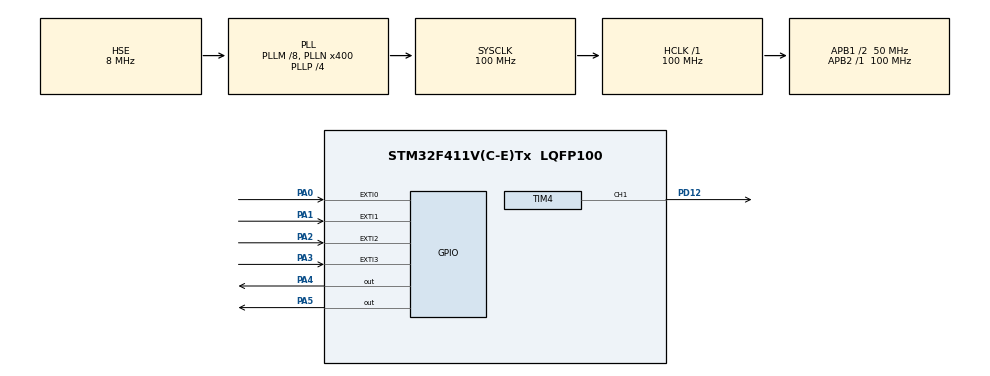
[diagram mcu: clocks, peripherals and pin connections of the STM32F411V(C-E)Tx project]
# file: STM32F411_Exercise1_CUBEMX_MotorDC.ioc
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Mcu.Family=STM32F4
Mcu.Name=STM32F411V(C-E)Tx
Mcu.Package=LQFP100
NVIC.EXTI0_IRQn=true\:0\:0\:false\:false\:true\:true\:true\:true
NVIC.EXTI1_IRQn=true\:1\:0\:true\:false\:true\:true\:true\:true
NVIC.EXTI2_IRQn=true\:2\:0\:true\:false\:true\:true\:true\:true
NVIC.EXTI3_IRQn=true\:2\:0\:true\:false\:true\:true\:true\:true
NVIC.PriorityGroup=NVIC_PRIORITYGROUP_4
PA0-WKUP.Signal=GPXTI0
PA1.Signal=GPXTI1
PA13.Mode=Serial_Wire
PA13.Signal=SYS_JTMS-SWDIO
PA14.Mode=Serial_Wire
PA14.Signal=SYS_JTCK-SWCLK
PA2.Signal=GPXTI2
PA3.Signal=GPXTI3
PA4.GPIO_Speed=GPIO_SPEED_FREQ_VERY_HIGH
PA4.Signal=GPIO_Output
PA5.GPIO_Speed=GPIO_SPEED_FREQ_VERY_HIGH
PA5.Signal=GPIO_Output
PD12.Signal=S_TIM4_CH1
PH0\ -\ OSC_IN.Mode=HSE-External-Oscillator
PH0\ -\ OSC_IN.Signal=RCC_OSC_IN
PH1\ -\ OSC_OUT.Mode=HSE-External-Oscillator
PH1\ -\ OSC_OUT.Signal=RCC_OSC_OUT
ProjectManager.HeapSize=0x200
ProjectManager.StackSize=0x400
ProjectManager.TargetToolchain=MDK-ARM V5.32
RCC.48MHZClocksFreq_Value=100000000
RCC.AHBFreq_Value=100000000
RCC.APB1CLKDivider=RCC_HCLK_DIV2
RCC.APB1Freq_Value=50000000
RCC.APB1TimFreq_Value=100000000
RCC.APB2Freq_Value=100000000
RCC.APB2TimFreq_Value=100000000
RCC.CortexFreq_Value=100000000
RCC.HCLKFreq_Value=100000000
RCC.HSE_VALUE=8000000
RCC.HSI_VALUE=16000000
RCC.LSE_VALUE=32768
RCC.PLLM=8
RCC.PLLN=400
RCC.PLLP=RCC_PLLP_DIV4
RCC.PLLSourceVirtual=RCC_PLLSOURCE_HSE
RCC.SYSCLKFreq_VALUE=100000000
RCC.SYSCLKSource=RCC_SYSCLKSOURCE_PLLCLK
RCC.VCOOutputFreq_Value=400000000
SH.S_TIM4_CH1.0=TIM4_CH1,PWM Generation1 CH1
TIM4.Channel-PWM\ Generation1\ CH1=TIM_CHANNEL_1
TIM4.Period=99
TIM4.Prescaler=999
VP_TIM4_VS_ClockSourceINT.Mode=Internal
board=custom

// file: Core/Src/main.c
/* USER CODE BEGIN Header */
/**
  ******************************************************************************
  * @file           : main.c
  * @brief          : Main program body
  ******************************************************************************
  * @attention
  *
  * Copyright (c) 2023 STMicroelectronics.
  * All rights reserved.
  *
  * This software is licensed under terms that can be found in the LICENSE file
  * in the root directory of this software component.
  * If no LICENSE file comes with this software, it is provided AS-IS.
  *
  ******************************************************************************
  */
/* USER CODE END Header */
#include "main.h"
#include "stdbool.h"

TIM_HandleTypeDef htim4;

/* USER CODE BEGIN PV */
bool f_bt_motor;
bool f_bt_direction;
bool f_bt_increase;
bool f_bt_decrease;
bool state = false;
uint16_t var;
/* USER CODE END PV */

void SystemClock_Config(void);
static void MX_GPIO_Init(void);
static void MX_TIM4_Init(void);

/* USER CODE BEGIN 0 */
void HAL_GPIO_EXTI_Callback(uint16_t GPIO_Pin)
{
	if (GPIO_Pin == GPIO_PIN_0)
	{
		f_bt_motor = true;
	}
	else if (GPIO_Pin == GPIO_PIN_1)
	{
		f_bt_direction = true;
	}
	else if (GPIO_Pin == GPIO_PIN_2)
	{
		f_bt_increase = true;
	}
	else if (GPIO_Pin == GPIO_PIN_3)
	{
		f_bt_decrease = true;
	}
}
/* USER CODE END 0 */

int main(void)
{

  /* MCU Configuration--------------------------------------------------------*/

  /* Reset of all peripherals, Initializes the Flash interface and the Systick. */
  HAL_Init();

  /* Configure the system clock */
  SystemClock_Config();

  /* Initialize all configured peripherals */
  MX_GPIO_Init();
  MX_TIM4_Init();
  /* USER CODE BEGIN 2 */
	HAL_TIM_PWM_Start(&htim4, TIM_CHANNEL_1);
  /* USER CODE END 2 */

  /* Infinite loop */
  while (1)
  {

    /* USER CODE BEGIN 3 */
		/* Bat tat Motor */
		if (f_bt_motor == true)
		{
			HAL_GPIO_WritePin(GPIOA, GPIO_PIN_4, GPIO_PIN_SET);
			HAL_GPIO_WritePin(GPIOA, GPIO_PIN_5, GPIO_PIN_RESET);
			state = !state;
			if (state == false)
			{
				HAL_GPIO_WritePin(GPIOA, GPIO_PIN_4, GPIO_PIN_RESET);
			}
			var = 30;
			HAL_Delay(60);
			f_bt_motor = false;
		}
		if (f_bt_direction == true)
		{
			HAL_GPIO_TogglePin(GPIOA, GPIO_PIN_4);
			HAL_GPIO_TogglePin(GPIOA, GPIO_PIN_5);
			HAL_Delay(60);
			f_bt_direction = false;
		}
		if (f_bt_increase == true)
		{
			if (var < 90)
			{
				var += 30;
			}
			HAL_Delay(60);
			f_bt_increase =  false;
		}
		if (f_bt_decrease == true)
		{
			if (var > 10)
			{
				var -= 30;
			}
			HAL_Delay(60);
			f_bt_decrease = false;
		}
		__HAL_TIM_SET_COMPARE(&htim4, TIM_CHANNEL_1, var);
  }
  /* USER CODE END 3 */
}

void SystemClock_Config(void)
{
  RCC_OscInitTypeDef RCC_OscInitStruct = {0};
  RCC_ClkInitTypeDef RCC_ClkInitStruct = {0};

  /** Configure the main internal regulator output voltage
  */
  __HAL_RCC_PWR_CLK_ENABLE();
  __HAL_PWR_VOLTAGESCALING_CONFIG(PWR_REGULATOR_VOLTAGE_SCALE1);

  /** Initializes the RCC Oscillators according to the specified parameters
  * in the RCC_OscInitTypeDef structure.
  */
  RCC_OscInitStruct.OscillatorType = RCC_OSCILLATORTYPE_HSE;
  RCC_OscInitStruct.HSEState = RCC_HSE_ON;
  RCC_OscInitStruct.PLL.PLLState = RCC_PLL_ON;
  RCC_OscInitStruct.PLL.PLLSource = RCC_PLLSOURCE_HSE;
  RCC_OscInitStruct.PLL.PLLM = 8;
  RCC_OscInitStruct.PLL.PLLN = 400;
  RCC_OscInitStruct.PLL.PLLP = RCC_PLLP_DIV4;
  RCC_OscInitStruct.PLL.PLLQ = 4;
  if (HAL_RCC_OscConfig(&RCC_OscInitStruct) != HAL_OK)
  {
    Error_Handler();
  }

  /** Initializes the CPU, AHB and APB buses clocks
  */
  RCC_ClkInitStruct.ClockType = RCC_CLOCKTYPE_HCLK|RCC_CLOCKTYPE_SYSCLK
                              |RCC_CLOCKTYPE_PCLK1|RCC_CLOCKTYPE_PCLK2;
  RCC_ClkInitStruct.SYSCLKSource = RCC_SYSCLKSOURCE_PLLCLK;
  RCC_ClkInitStruct.AHBCLKDivider = RCC_SYSCLK_DIV1;
  RCC_ClkInitStruct.APB1CLKDivider = RCC_HCLK_DIV2;
  RCC_ClkInitStruct.APB2CLKDivider = RCC_HCLK_DIV1;

  if (HAL_RCC_ClockConfig(&RCC_ClkInitStruct, FLASH_LATENCY_3) != HAL_OK)
  {
    Error_Handler();
  }
}

static void MX_TIM4_Init(void)
{

  TIM_ClockConfigTypeDef sClockSourceConfig = {0};
  TIM_MasterConfigTypeDef sMasterConfig = {0};
  TIM_OC_InitTypeDef sConfigOC = {0};

  htim4.Instance = TIM4;
  htim4.Init.Prescaler = 999;
  htim4.Init.CounterMode = TIM_COUNTERMODE_UP;
  htim4.Init.Period = 99;
  htim4.Init.ClockDivision = TIM_CLOCKDIVISION_DIV1;
  htim4.Init.AutoReloadPreload = TIM_AUTORELOAD_PRELOAD_DISABLE;
  if (HAL_TIM_Base_Init(&htim4) != HAL_OK)
  {
    Error_Handler();
  }
  sClockSourceConfig.ClockSource = TIM_CLOCKSOURCE_INTERNAL;
  if (HAL_TIM_ConfigClockSource(&htim4, &sClockSourceConfig) != HAL_OK)
  {
    Error_Handler();
  }
  if (HAL_TIM_PWM_Init(&htim4) != HAL_OK)
  {
    Error_Handler();
  }
  sMasterConfig.MasterOutputTrigger = TIM_TRGO_RESET;
  sMasterConfig.MasterSlaveMode = TIM_MASTERSLAVEMODE_DISABLE;
  if (HAL_TIMEx_MasterConfigSynchronization(&htim4, &sMasterConfig) != HAL_OK)
  {
    Error_Handler();
  }
  sConfigOC.OCMode = TIM_OCMODE_PWM1;
  sConfigOC.Pulse = 0;
  sConfigOC.OCPolarity = TIM_OCPOLARITY_HIGH;
  sConfigOC.OCFastMode = TIM_OCFAST_DISABLE;
  if (HAL_TIM_PWM_ConfigChannel(&htim4, &sConfigOC, TIM_CHANNEL_1) != HAL_OK)
  {
    Error_Handler();
  }
  HAL_TIM_MspPostInit(&htim4);

}

static void MX_GPIO_Init(void)
{
  GPIO_InitTypeDef GPIO_InitStruct = {0};

  /* GPIO Ports Clock Enable */
  __HAL_RCC_GPIOH_CLK_ENABLE();
  __HAL_RCC_GPIOA_CLK_ENABLE();
  __HAL_RCC_GPIOD_CLK_ENABLE();

  /*Configure GPIO pin Output Level */
  HAL_GPIO_WritePin(GPIOA, GPIO_PIN_4|GPIO_PIN_5, GPIO_PIN_RESET);

  /*Configure GPIO pins : PA0 PA1 PA2 PA3 */
  GPIO_InitStruct.Pin = GPIO_PIN_0|GPIO_PIN_1|GPIO_PIN_2|GPIO_PIN_3;
  GPIO_InitStruct.Mode = GPIO_MODE_IT_RISING;
  GPIO_InitStruct.Pull = GPIO_NOPULL;
  HAL_GPIO_Init(GPIOA, &GPIO_InitStruct);

  /*Configure GPIO pins : PA4 PA5 */
  GPIO_InitStruct.Pin = GPIO_PIN_4|GPIO_PIN_5;
  GPIO_InitStruct.Mode = GPIO_MODE_OUTPUT_PP;
  GPIO_InitStruct.Pull = GPIO_NOPULL;
  GPIO_InitStruct.Speed = GPIO_SPEED_FREQ_VERY_HIGH;
  HAL_GPIO_Init(GPIOA, &GPIO_InitStruct);

  /* EXTI interrupt init*/
  HAL_NVIC_SetPriority(EXTI0_IRQn, 0, 0);
  HAL_NVIC_EnableIRQ(EXTI0_IRQn);

  HAL_NVIC_SetPriority(EXTI1_IRQn, 1, 0);
  HAL_NVIC_EnableIRQ(EXTI1_IRQn);

  HAL_NVIC_SetPriority(EXTI2_IRQn, 2, 0);
  HAL_NVIC_EnableIRQ(EXTI2_IRQn);

  HAL_NVIC_SetPriority(EXTI3_IRQn, 2, 0);
  HAL_NVIC_EnableIRQ(EXTI3_IRQn);

}

void Error_Handler(void)
{
  __disable_irq();
  while (1)
  {
  }
}
